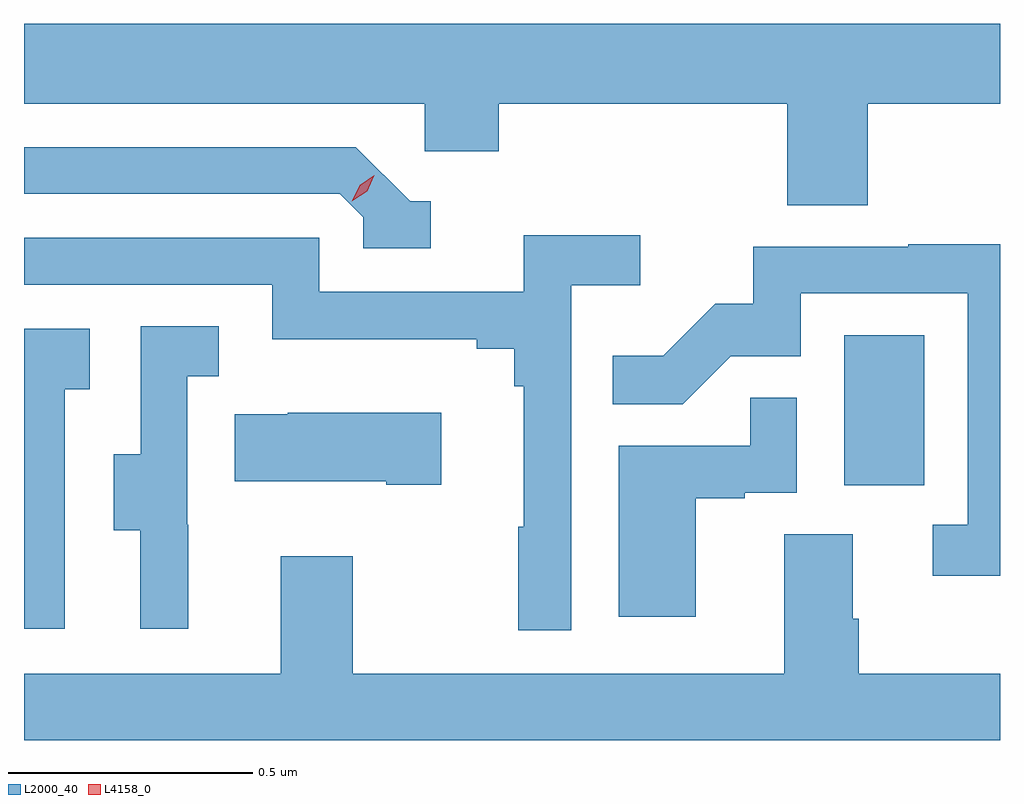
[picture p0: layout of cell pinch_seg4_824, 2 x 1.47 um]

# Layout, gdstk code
import gdstk
lib = gdstk.Library(unit=1e-6, precision=1e-09)
def R(c, l, rs):  # rectangles x0, y0, x1, y1
    for r in rs: c.add(gdstk.rectangle(r[:2], r[2:], *l))
def P(c, l, *ps):  # polygons
    for p in ps: c.add(gdstk.Polygon(p, *l))
L2000_40 = (2000, 40)
L4158_0 = (4158, 0)

pinch_seg4_824 = lib.new_cell('pinch_seg4_824')
R(pinch_seg4_824, L2000_40, [(814.268,798.702,814.432,799.009)])
P(pinch_seg4_824, L2000_40, [(814.316,799.484),(814.587,799.484),(814.587,799.648),(812.587,799.648),(812.587,799.484),(813.408,799.484),(813.408,799.386),(813.56,799.386),(813.56,799.484),(814.151,799.484),(814.151,799.276),(814.316,799.276)],
  [(813.421,799.284),(813.378,799.284),(813.267,799.395),(812.587,799.395),(812.587,799.299),(813.234,799.299),(813.282,799.251),(813.282,799.188),(813.421,799.188)],
  [(813.708,799.112),(813.85,799.112),(813.85,799.214),(813.611,799.214),(813.611,799.098),(813.192,799.098),(813.192,799.209),(812.587,799.209),(812.587,799.113),(813.096,799.113),(813.096,799.001),(813.515,799.001),(813.515,798.982),(813.592,798.982),(813.592,798.905),(813.611,798.905),(813.611,798.617),(813.6,798.617),(813.6,798.405),(813.708,798.405)],
  [(814.587,799.196),(814.399,799.196),(814.399,799.191),(814.081,799.191),(814.081,799.074),(814.004,799.074),(813.897,798.967),(813.793,798.967),(813.793,798.868),(813.937,798.868),(814.035,798.966),(814.179,798.966),(814.179,799.095),(814.521,799.095),(814.521,798.621),(814.449,798.621),(814.449,798.516),(814.587,798.516)],
  [(812.924,798.621),(812.922,798.621),(812.922,798.925),(812.986,798.925),(812.986,799.028),(812.826,799.028),(812.826,798.765),(812.771,798.765),(812.771,798.61),(812.825,798.61),(812.825,798.408),(812.924,798.408)],
  [(812.67,798.899),(812.722,798.899),(812.722,799.023),(812.587,799.023),(812.587,798.408),(812.67,798.408)],
  [(813.964,798.675),(814.064,798.675),(814.064,798.687),(814.17,798.687),(814.17,798.881),(814.075,798.881),(814.075,798.783),(813.806,798.783),(813.806,798.432),(813.964,798.432)],
  [(813.442,798.85),(813.127,798.85),(813.127,798.847),(813.019,798.847),(813.019,798.71),(813.329,798.71),(813.329,798.703),(813.442,798.703)],
  [(814.587,798.316),(814.298,798.316),(814.298,798.428),(814.285,798.428),(814.285,798.602),(814.145,798.602),(814.145,798.316),(813.261,798.316),(813.261,798.556),(813.113,798.556),(813.113,798.316),(812.587,798.316),(812.587,798.179),(814.587,798.179)])
P(pinch_seg4_824, L4158_0, [(813.259,799.284),(813.259,799.284),(813.275,799.317),(813.305,799.337),(813.305,799.337),(813.305,799.337),(813.29,799.304),(813.259,799.284)])

lib.write_gds('pinch_seg4_824.gds')
